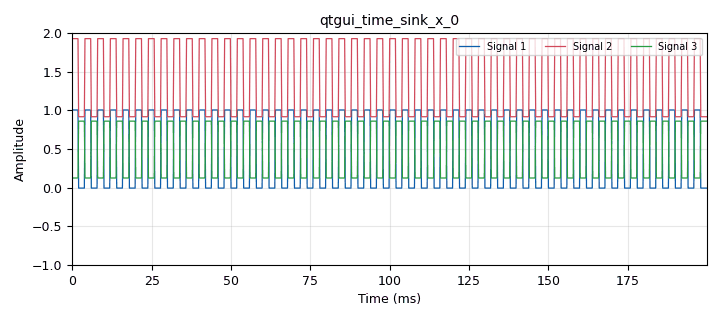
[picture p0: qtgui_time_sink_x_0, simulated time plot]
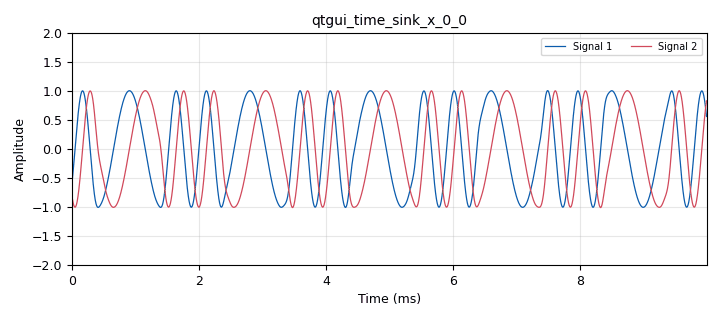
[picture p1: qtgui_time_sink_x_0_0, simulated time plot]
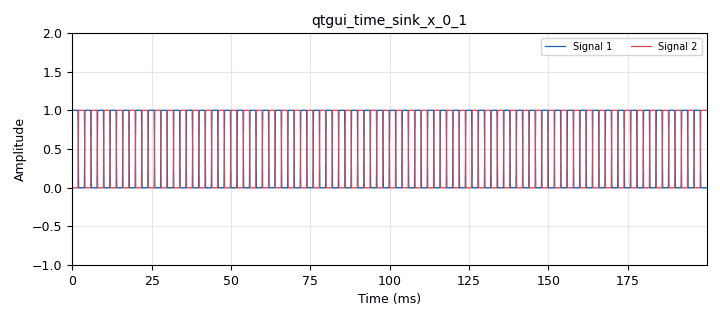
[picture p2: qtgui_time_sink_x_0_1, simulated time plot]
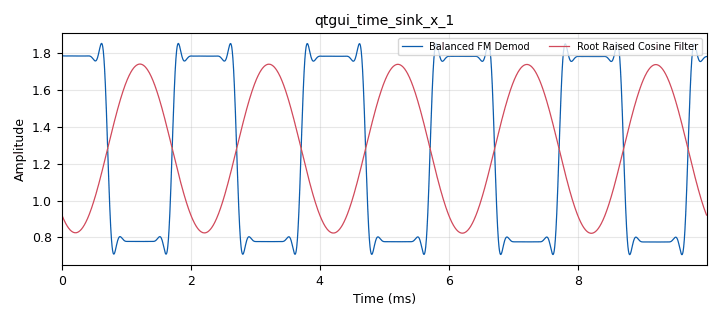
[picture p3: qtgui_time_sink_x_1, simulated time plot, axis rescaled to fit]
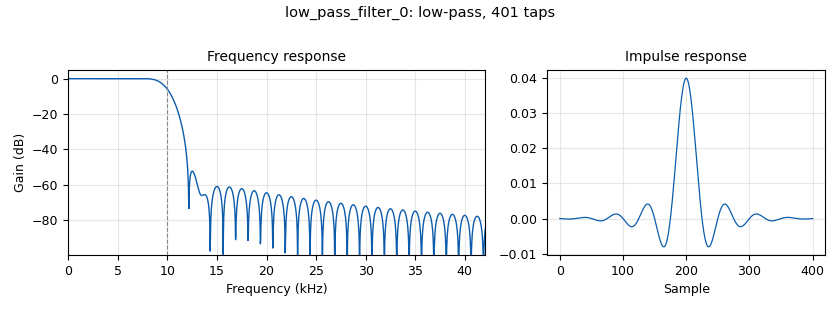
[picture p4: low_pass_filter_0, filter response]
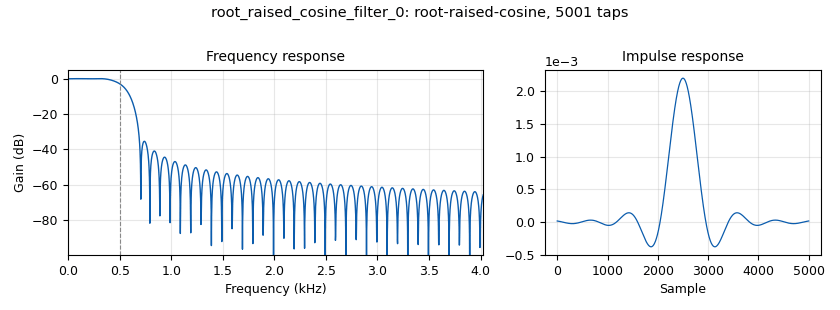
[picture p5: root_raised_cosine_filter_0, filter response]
options:
  parameters:
    author: thatbigblueguy
    generate_options: qt_gui
    id: UHF_LOOP_BACK_20240123
    output_language: python
    title: Not titled yet
  states: {}

blocks:
- name: M
  id: variable
  parameters:
    value: '2'
  states: {}
- name: agc_integration_const
  id: variable
  parameters:
    value: 2e5
  states: {}
- name: bandwidth
  id: variable
  parameters:
    value: M * delta_f
  states: {}
- name: baud_rate
  id: variable
  parameters:
    value: bps * 2 / M
  states: {}
- name: bb_gain
  id: variable
  parameters:
    value: '16'
  states: {}
- name: bb_gain_display
  id: variable_qtgui_label
  parameters:
    type: int
    value: bb_gain
  states: {}
- name: bps
  id: variable
  parameters:
    value: 1e3
  states: {}
- name: delta_f
  id: variable
  parameters:
    value: 1.1 * bps
  states: {}
- name: demod_offset
  id: variable
  parameters:
    value: 1e3
  states: {}
- name: freq
  id: variable
  parameters:
    value: 413e6 - 2e3
  states: {}
- name: header_bits
  id: variable
  parameters:
    value: '8'
  states: {}
- name: if_gain
  id: variable
  parameters:
    value: '16'
  states: {}
- name: if_gain_display
  id: variable_qtgui_label
  parameters:
    type: int
    value: if_gain
  states: {}
- name: packet_bits
  id: variable
  parameters:
    value: '108'
  states: {}
- name: payload_bits
  id: variable
  parameters:
    value: packet_bits - header_bits
  states: {}
- name: rf_gain
  id: variable
  parameters:
    value: '0'
  states: {}
- name: rf_gain_display
  id: variable_qtgui_label
  parameters:
    type: int
    value: rf_gain
  states: {}
- name: samp_per_bit
  id: variable
  parameters:
    value: (int)(samp_rate * (1 / bps))
  states: {}
- name: samp_per_symbol
  id: variable
  parameters:
    value: (int)(samp_rate * (1 / baud_rate))
  states: {}
- name: samp_rate
  id: variable
  parameters:
    value: (int) (5e5)
  states: {}
- name: analog_fm_demod_cf_0
  id: analog_fm_demod_cf
  parameters:
    audio_decim: '1'
    audio_pass: delta_f * 3
    audio_stop: delta_f * 7
    chan_rate: samp_rate
    deviation: (delta_f)
    gain: '1.0'
    tau: '0'
  states: {}
- name: blocks_add_const_vxx_0_0
  id: blocks_add_const_vxx
  parameters:
    const: center_frequency_offset_error
    type: float
  states: {}
- name: blocks_add_const_vxx_0_0_0
  id: blocks_add_const_vxx
  parameters:
    const: demod_offset / delta_f
    type: float
  states: {}
- name: blocks_add_const_vxx_0_0_1
  id: blocks_add_const_vxx
  parameters:
    const: center_frequency_offset_error
    type: float
  states: {}
- name: blocks_complex_to_float_0
  id: blocks_complex_to_float
  parameters: {}
  states: {}
- name: blocks_complex_to_mag_squared_0
  id: blocks_complex_to_mag_squared
  parameters: {}
  states: {}
- name: blocks_file_sink_0
  id: blocks_file_sink
  parameters:
    file: rx_data
    type: byte
  states: {}
- name: blocks_file_source_0
  id: blocks_file_source
  parameters:
    file: /home/thatbigblueguy/Documents/git/PARTI-MCU/tx_data
    repeat: 'True'
    type: byte
  states: {state: disabled}
- name: blocks_float_to_uchar_0
  id: blocks_float_to_uchar
  parameters: {}
  states: {}
- name: blocks_float_to_uchar_0_0
  id: blocks_float_to_uchar
  parameters: {}
  states: {}
- name: blocks_integrate_xx_0
  id: blocks_integrate_xx
  parameters:
    decim: int(agc_integration_const)
    type: float
  states: {}
- name: blocks_moving_average_xx_0
  id: blocks_moving_average_xx
  parameters:
    length: '2000'
    max_iter: '4000'
    scale: 1/2000
    type: float
  states: {}
- name: blocks_moving_average_xx_0_0
  id: blocks_moving_average_xx
  parameters:
    length: '2000000'
    max_iter: '4000000'
    scale: 1/2000000
    type: float
  states: {}
- name: blocks_multiply_const_vxx_1_0_0
  id: blocks_multiply_const_vxx
  parameters:
    const: 1/(agc_integration_const)
    type: float
  states: {}
- name: blocks_packed_to_unpacked_xx_0
  id: blocks_packed_to_unpacked_xx
  parameters:
    bits_per_chunk: '1'
    endianness: gr.GR_MSB_FIRST
    type: byte
  states: {state: disabled}
- name: blocks_repeat_0_0
  id: blocks_repeat
  parameters:
    interp: '10'
    type: float
  states: {}
- name: blocks_repeat_0_0_0
  id: blocks_repeat
  parameters:
    interp: '10'
    type: float
  states: {}
- name: blocks_repeat_0_0_1
  id: blocks_repeat
  parameters:
    interp: '10'
    type: float
  states: {}
- name: blocks_repeat_0_0_1_0
  id: blocks_repeat
  parameters:
    interp: '10'
    type: float
  states: {}
- name: blocks_repeat_0_0_2
  id: blocks_repeat
  parameters:
    interp: (int)(samp_rate * (1 / baud_rate))
    type: byte
  states: {}
- name: blocks_repeat_0_0_3
  id: blocks_repeat
  parameters:
    interp: '10'
    type: float
  states: {}
- name: blocks_sub_xx_0
  id: blocks_sub_xx
  parameters:
    type: float
  states: {}
- name: blocks_sub_xx_0_0
  id: blocks_sub_xx
  parameters:
    type: float
  states: {}
- name: blocks_uchar_to_float_0
  id: blocks_uchar_to_float
  parameters: {}
  states: {}
- name: blocks_uchar_to_float_0_0
  id: blocks_uchar_to_float
  parameters: {}
  states: {}
- name: blocks_uchar_to_float_1
  id: blocks_uchar_to_float
  parameters: {}
  states: {}
- name: blocks_unpacked_to_packed_xx_0
  id: blocks_unpacked_to_packed_xx
  parameters:
    bits_per_chunk: '1'
    endianness: gr.GR_MSB_FIRST
    type: byte
  states: {}
- name: blocks_vco_c_0_0
  id: blocks_vco_c
  parameters:
    amplitude: '1'
    samp_rate: samp_rate
    sensitivity: (delta_f) * 2 * 3.14159
  states: {}
- name: blocks_vector_source_x_0
  id: blocks_vector_source_x
  parameters:
    repeat: 'True'
    type: byte
    vector: (0, 1)
  states: {}
- name: center_frequency_offset_error
  id: parameter
  parameters:
    value: '0.5'
  states: {}
- name: digital_symbol_sync_xx_0
  id: digital_symbol_sync_xx
  parameters:
    damping: '1.0'
    loop_bw: '0.045'
    max_dev: '1.5'
    osps: '1'
    resamp_type: digital.IR_MMSE_8TAP
    sps: samp_per_symbol
    ted_gain: '1.0'
    ted_type: digital.TED_SIGNAL_TIMES_SLOPE_ML
    type: ff
  states: {}
- name: digital_symbol_sync_xx_0_0
  id: digital_symbol_sync_xx
  parameters:
    damping: '1.0'
    loop_bw: '0.045'
    max_dev: '1.5'
    osps: '1'
    resamp_type: digital.IR_MMSE_8TAP
    sps: samp_per_symbol
    ted_gain: '1.0'
    ted_type: digital.TED_SIGNAL_TIMES_SLOPE_ML
    type: ff
  states: {}
- name: epy_block_0
  id: epy_block
  parameters:
    _source_code: |
      """
      Embedded Python Blocks:

      Each time this file is saved, GRC will instantiate the first class it finds
      to get ports and parameters of your block. The arguments to __init__  will
      be the parameters. All of them are required to have default values!
      """

      import numpy as np
      from gnuradio import gr
      import time
      import datetime

      class blk(gr.sync_block):  # other base classes are basic_block, decim_block, interp_block

          gain_table = (
               #rf,   if,     bb
               (0,     0,     0),
               (0,     0,     2),
               (0,     0,     4),
               (0,     0,     6),
               (0,     8,     0),
               (0,     8,     2),
               (0,     8,     4),
               (0,     8,     6),
               (0,     8,     8),
               (0,     8,     10),
               (0,     8,     12),
               (0,     8,     14),
               (0,     16,    8),
               (0,     16,    10),
               (0,     16,    12),
               (0,     16,    14),
               (0,     16,    16),
               (0,     16,    18),
               (0,     16,    20),
               (0,     16,    22),
               (0,     24,    16),
               (0,     24,    18),
               (0,     24,    20),
               (0,     24,    22),
               (0,     24,    24),
               (0,     24,    26),
               (0,     24,    28),
               (0,     24,    30),
               (11,    24,    20),
               (11,    24,    22),
               (11,    24,    24),
               (11,    24,    26),
               (11,    24,    28),
               (11,    24,    30),
               (11,    32,    24),
               (11,    32,    26),
               (11,    32,    28),
               (11,    32,    30),
               (11,    32,    32),
               (11,    32,    34),
               (11,    32,    36),
               (11,    32,    38),
               (11,    40,    32),
               (11,    40,    34),
               (11,    40,    36),
               (11,    40,    38),
               (11,    40,    40),
               (11,    40,    42),
               (11,    40,    44),
               (11,    40,    46),
               (11,    40,    48),
               (11,    40,    50),
               (11,    40,    52),
               (11,    40,    54),
               (11,    40,    56),
               (11,    40,    58),
               (11,    40,    60),
               (11,    40,    62),
          )

          log_file = 'gain_log.csv'

          def __init__(self, 
                       max_input_level=0.9, min_input_level=0.1, update_period=0.5, auto_log_time_min=15,
                       callback_rf_gain=None, callback_if_gain=None, callback_bb_gain=None):  # only default arguments here
              """arguments to this function show up as parameters in GRC"""
              gr.sync_block.__init__(
                  self,
                  name='Embedded Python Block',   # will show up in GRC
                  in_sig=[np.float32],
                  out_sig=[]
              )
              # if an attribute with the same name as a parameter is found,
              # a callback is registered (properties work, too).
              self.max_input_level = max_input_level
              self.min_input_level = min_input_level
              self.update_period = update_period
              self.callback_rf_gain = callback_rf_gain
              self.callback_if_gain = callback_if_gain
              self.callback_bb_gain = callback_bb_gain

              self.gain_table_index = 8
              self.log_index = 0
              self.auto_log_time_min = auto_log_time_min
              self.log_index_limit = 60 * auto_log_time_min / update_period

              import os
              cwd = os.getcwd()
              print(cwd)

          def work(self, input_items, output_items):
              """example: multiply with constant"""
              
              def log():
                  with open(blk.log_file, mode='+a') as f:
                      gain_table_tuple = blk.gain_table[self.gain_table_index]
                      rf_gain = gain_table_tuple[0]
                      if_gain = gain_table_tuple[1]
                      bb_gain = gain_table_tuple[2]
                      log_msg = ','.join(
                          map(str, 
                              [input_items[-1][-1], rf_gain, if_gain, bb_gain]
                          )
                      )
                      print(str(datetime.datetime.now()) + "UTC " + log_msg, file=f)

              if input_items[-1][-1] > (self.max_input_level):
                  log()
                  self.decrease_gain()

              if input_items[-1][-1] < (self.min_input_level):
                  log()
                  self.increase_gain() 
              
              if self.log_index >= self.log_index_limit:
                  log()
              else:
                  self.log_index += 1
              #output_items[0][:] = input_items[0] * self.example_param
              
              time.sleep(self.update_period)
              return 0 #len(output_items[0])

          def check_gain_table_index_limits(self):
              if self.gain_table_index < 0:
                  self.gain_table_index = 0
              
              if self.gain_table_index >= len(blk.gain_table):
                  self.gain_table_index = len(blk.gain_table) - 1

          def set_gain_from_gain_table(self):
              gain_table_tuple = blk.gain_table[self.gain_table_index]
              rf_gain = gain_table_tuple[0]
              if_gain = gain_table_tuple[1]
              bb_gain = gain_table_tuple[2]

              self.callback_rf_gain(rf_gain)
              self.callback_if_gain(if_gain)
              self.callback_bb_gain(bb_gain)

          def decrease_gain(self):
              self.gain_table_index -= 1
              self.check_gain_table_index_limits()
              self.set_gain_from_gain_table()

          def increase_gain(self):
              self.gain_table_index += 1
              self.check_gain_table_index_limits()
              self.set_gain_from_gain_table()
    auto_log_time_min: '15'
    callback_bb_gain: self.set_bb_gain
    callback_if_gain: self.set_if_gain
    callback_rf_gain: self.set_rf_gain
    max_input_level: '0.8'
    min_input_level: '0.1'
    update_period: '0.5'
  states: {}
- name: low_pass_filter_0
  id: low_pass_filter
  parameters:
    cutoff_freq: 10e3
    decim: '1'
    gain: '1'
    samp_rate: samp_rate
    type: fir_filter_ccf
    width: 3e3
    win: firdes.WIN_HAMMING
  states: {}
- name: qtgui_time_sink_x_0
  id: qtgui_time_sink_x
  parameters:
    nconnections: '3'
    size: 100 * 10
    srate: 10 * samp_rate / baud_rate
    type: float
    update_time: '1'
    ymax: '2'
  states: {}
- name: qtgui_time_sink_x_0_0
  id: qtgui_time_sink_x
  parameters:
    entags: 'False'
    nconnections: '2'
    size: (int) (10 * samp_rate / baud_rate)
    srate: 'samp_rate '
    type: float
    update_time: '1'
    ymax: '2'
    ymin: '-2'
  states: {}
- name: qtgui_time_sink_x_0_1
  id: qtgui_time_sink_x
  parameters:
    nconnections: '2'
    size: 100 * 10
    srate: 10 * samp_rate / baud_rate
    type: float
    update_time: '1'
    ymax: '2'
  states: {}
- name: qtgui_time_sink_x_1
  id: qtgui_time_sink_x
  parameters:
    label1: Balanced FM Demod
    label2: Root Raised Cosine Filter
    nconnections: '2'
    size: (int) (10 * samp_rate / baud_rate)
    srate: samp_rate
    type: float
  states: {}
- name: root_raised_cosine_filter_0
  id: root_raised_cosine_filter
  parameters:
    alpha: '0.35'
    decim: '1'
    gain: '1'
    ntaps: '5000'
    samp_rate: samp_rate
    sym_rate: baud_rate
    type: fir_filter_fff
  states: {}
- name: virtual_sink_0
  id: virtual_sink
  parameters:
    stream_id: TX_SYMBOLS
  states: {}
- name: virtual_sink_0_0
  id: virtual_sink
  parameters:
    stream_id: VIRTUAL_WIRELESS_LINK
  states: {}
- name: virtual_source_0
  id: virtual_source
  parameters:
    stream_id: TX_SYMBOLS
  states: {}
- name: virtual_source_0_0
  id: virtual_source
  parameters:
    stream_id: VIRTUAL_WIRELESS_LINK
  states: {}

connections:
- [analog_fm_demod_cf_0, '0', blocks_moving_average_xx_0_0, '0']
- [analog_fm_demod_cf_0, '0', blocks_sub_xx_0_0, '0']
- [analog_fm_demod_cf_0, '0', digital_symbol_sync_xx_0, '0']
- [blocks_add_const_vxx_0_0, '0', blocks_float_to_uchar_0, '0']
- [blocks_add_const_vxx_0_0, '0', blocks_repeat_0_0, '0']
- [blocks_add_const_vxx_0_0_0, '0', blocks_vco_c_0_0, '0']
- [blocks_add_const_vxx_0_0_1, '0', blocks_float_to_uchar_0_0, '0']
- [blocks_add_const_vxx_0_0_1, '0', blocks_repeat_0_0_3, '0']
- [blocks_complex_to_float_0, '0', qtgui_time_sink_x_0_0, '0']
- [blocks_complex_to_float_0, '1', qtgui_time_sink_x_0_0, '1']
- [blocks_complex_to_mag_squared_0, '0', blocks_integrate_xx_0, '0']
- [blocks_file_source_0, '0', blocks_packed_to_unpacked_xx_0, '0']
- [blocks_float_to_uchar_0, '0', blocks_uchar_to_float_0, '0']
- [blocks_float_to_uchar_0, '0', blocks_unpacked_to_packed_xx_0, '0']
- [blocks_float_to_uchar_0_0, '0', blocks_uchar_to_float_0_0, '0']
- [blocks_integrate_xx_0, '0', blocks_multiply_const_vxx_1_0_0, '0']
- [blocks_moving_average_xx_0, '0', blocks_sub_xx_0, '1']
- [blocks_moving_average_xx_0_0, '0', blocks_sub_xx_0_0, '1']
- [blocks_multiply_const_vxx_1_0_0, '0', epy_block_0, '0']
- [blocks_packed_to_unpacked_xx_0, '0', blocks_repeat_0_0_2, '0']
- [blocks_repeat_0_0, '0', qtgui_time_sink_x_0, '0']
- [blocks_repeat_0_0_0, '0', qtgui_time_sink_x_0, '1']
- [blocks_repeat_0_0_1, '0', qtgui_time_sink_x_0_1, '0']
- [blocks_repeat_0_0_1_0, '0', qtgui_time_sink_x_0_1, '1']
- [blocks_repeat_0_0_2, '0', blocks_uchar_to_float_1, '0']
- [blocks_repeat_0_0_3, '0', qtgui_time_sink_x_0, '2']
- [blocks_sub_xx_0, '0', blocks_add_const_vxx_0_0, '0']
- [blocks_sub_xx_0_0, '0', qtgui_time_sink_x_1, '0']
- [blocks_sub_xx_0_0, '0', root_raised_cosine_filter_0, '0']
- [blocks_uchar_to_float_0, '0', blocks_repeat_0_0_1, '0']
- [blocks_uchar_to_float_0_0, '0', blocks_repeat_0_0_1_0, '0']
- [blocks_uchar_to_float_1, '0', virtual_sink_0, '0']
- [blocks_unpacked_to_packed_xx_0, '0', blocks_file_sink_0, '0']
- [blocks_vco_c_0_0, '0', virtual_sink_0_0, '0']
- [blocks_vector_source_x_0, '0', blocks_repeat_0_0_2, '0']
- [digital_symbol_sync_xx_0, '0', blocks_moving_average_xx_0, '0']
- [digital_symbol_sync_xx_0, '0', blocks_repeat_0_0_0, '0']
- [digital_symbol_sync_xx_0, '0', blocks_sub_xx_0, '0']
- [digital_symbol_sync_xx_0_0, '0', blocks_add_const_vxx_0_0_1, '0']
- [low_pass_filter_0, '0', analog_fm_demod_cf_0, '0']
- [low_pass_filter_0, '0', blocks_complex_to_float_0, '0']
- [root_raised_cosine_filter_0, '0', digital_symbol_sync_xx_0_0, '0']
- [root_raised_cosine_filter_0, '0', qtgui_time_sink_x_1, '1']
- [virtual_source_0, '0', blocks_add_const_vxx_0_0_0, '0']
- [virtual_source_0_0, '0', blocks_complex_to_mag_squared_0, '0']
- [virtual_source_0_0, '0', low_pass_filter_0, '0']

metadata:
  file_format: 1
